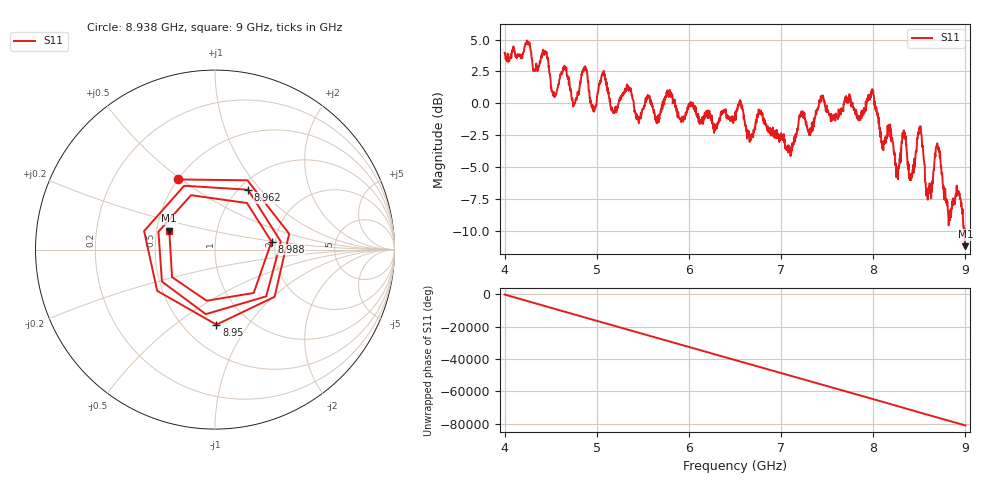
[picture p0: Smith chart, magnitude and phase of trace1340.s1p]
! Created with skrf 1.8.0 (http://scikit-rf.org).
# Hz S RI R 50.0
!freq ReS11 ImS11
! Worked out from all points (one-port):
!   1601 points, 4 GHz to 9 GHz, reference 50 ohm
!   lowest |S11| = -11.2 dB at 9 GHz (marker M1), VSWR 1.76, Z = 29.1 + j6.68 ohm
!   |S11| at or under -10 dB: 8.983732 GHz to 8.985844 GHz (2.112 MHz wide, 0.0235 % of centre); 8.991624 GHz to end of sweep
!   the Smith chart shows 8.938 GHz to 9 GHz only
!   S11 on the Smith chart (normalised r, x): 8.938 GHz: 0.50, +0.48; 8.95 GHz: 0.71, -0.72; 8.962 GHz: 1.10, +0.86; 8.988 GHz: 1.91, +0.19; 9 GHz: 0.58, +0.13
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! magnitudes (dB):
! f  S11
! 4 GHz  4.0
! 4.438 GHz  4.1
! 4.538 GHz  0.6
! 4.625 GHz  2.3
! 4.753 GHz  -0.1
! 4.866 GHz  2.9
! 4.962 GHz  -0.6
! 5.072 GHz  2.3
! 5.25 GHz  0.5
! 5.875 GHz  -1.0
! 6.5 GHz  -1.0
! 7.125 GHz  -3.4
! 7.438 GHz  0.5
! 7.75 GHz  0.5
! 7.991 GHz  1.1
! 8.1 GHz  -3.1
! 8.334 GHz  -2.6
! 8.375 GHz  -4.8
! 8.419 GHz  -5.6
! 8.503 GHz  -1.8
! 8.597 GHz  -6.7
! 8.694 GHz  -3.1
! 8.819 GHz  -9.6
! 8.938 GHz  -7.1
! 8.95 GHz  -7.6
! 8.962 GHz  -8.4
! 8.988 GHz  -10.0
! 9 GHz  -11.2
